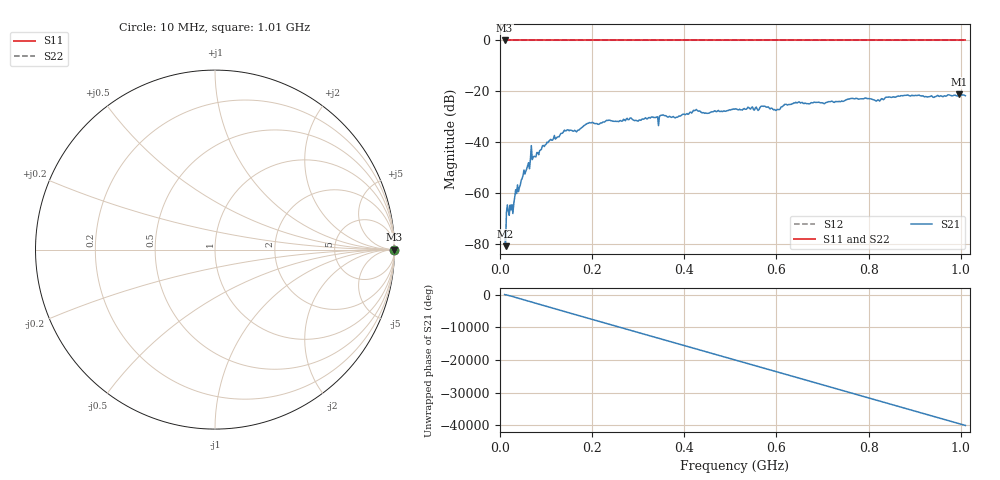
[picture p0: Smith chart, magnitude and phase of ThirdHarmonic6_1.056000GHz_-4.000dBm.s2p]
! 8/16/2025 9:23:28 AM
! C:\ANRITSUVNA\TEMP\TEMP.S2P
! CHANNEL.1
! TR.MEASUREMENT
! RAW.DATA
! RF.CORRECTION.OFF
! AVERAGING.OFF
! IF.BANDWIDTH: 5KHZ
! SWEEPTYPE:  FREQ.SWEEP(Linear)
! Reference Plane Port Info
! PORT:  PORT1  PORT2
! DISTANCE:  0  m  0  m
! TIME:  0  s  0  s
! PHASE.OFFSET:  0  deg.  0  deg.
! LOSS:  0  dB  0  dB
! REF.LOSS:  0  dB  0  dB
! REF.FREQ:  0  Hz  0  Hz
! Power Info
! POWER:  -20  dBm  -20  dBm
! EFF.POWER:  -20  dBm  -20  dBm
! SOURCE.ATTEN:  0  dB  0  dB
! TEST.ATTEN:  0  dB  0  dB
# GHZ S RI R 50.0
! FREQ.GHZ  S11RE  S11IM  S21RE  S21IM  S12RE  S12IM  S22RE  S22IM
!; PortSelection: Port_12
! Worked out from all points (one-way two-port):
!   501 points, 10 MHz to 1.01 GHz, reference 50 ohm
!   highest |S21| = -21.26 dB at 996 MHz (marker M1); lowest = -81.0 dB at 12 MHz (marker M2)
!   lowest |S11| = 0.0 dB at 10 MHz (marker M3)
!   |S11| at or under -10 dB: nowhere
!   |S22| runs from 0.0 to 0.0 dB; largest |S21 - S12| = 1.1
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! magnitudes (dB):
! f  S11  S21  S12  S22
! 10 MHz  0.0  -74.9  0.0  0.0
! 12 MHz  0.0  -81.0  0.0  0.0
! 18 MHz  0.0  -67.3  0.0  0.0
! 28 MHz  0.0  -68.2  0.0  0.0
! 34 MHz  0.0  -58.8  0.0  0.0
! 70 MHz  0.0  -46.9  0.0  0.0
! 74 MHz  0.0  -45.6  0.0  0.0
! 106 MHz  0.0  -39.7  0.0  0.0
! 142 MHz  0.0  -35.6  0.0  0.0
! 178 MHz  0.0  -34.2  0.0  0.0
! 234 MHz  0.0  -31.6  0.0  0.0
! 344 MHz  0.0  -33.5  0.0  0.0
! 424 MHz  0.0  -27.5  0.0  0.0
! 448 MHz  0.0  -28.6  0.0  0.0
! 510 MHz  0.0  -27.1  0.0  0.0
! 572 MHz  0.0  -26.0  0.0  0.0
! 602 MHz  0.0  -27.2  0.0  0.0
! 620 MHz  0.0  -25.2  0.0  0.0
! 678 MHz  0.0  -24.6  0.0  0.0
! 844 MHz  0.0  -22.3  0.0  0.0
! 996 MHz  0.0  -21.3  0.0  0.0
! 1.01 GHz  0.0  -21.8  0.0  0.0
